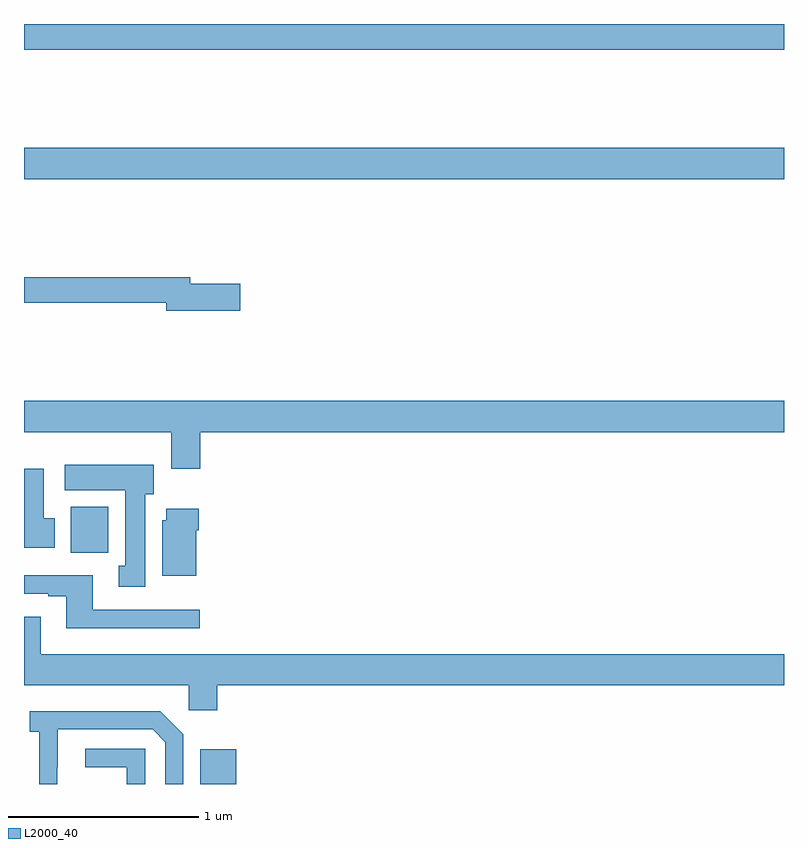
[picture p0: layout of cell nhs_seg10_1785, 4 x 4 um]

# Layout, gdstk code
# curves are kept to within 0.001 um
import gdstk
lib = gdstk.Library(unit=1e-6, precision=1e-09)
def R(c, l, rs):  # rectangles x0, y0, x1, y1
    for r in rs: c.add(gdstk.rectangle(r[:2], r[2:], *l))
def P(c, l, *ps):  # polygons
    for p in ps: c.add(gdstk.Polygon(p, *l))
L2000_40 = (2000, 40)

nhs_seg10_1785 = lib.new_cell('nhs_seg10_1785')
R(nhs_seg10_1785, L2000_40, [(205.928,1262.5,206.116,1262.683), (205.247,1263.716,205.444,1263.958), (205,1265.684,209,1265.848), (205,1266.364,209,1266.5)])
P(nhs_seg10_1785, L2000_40, [(206.137,1265.132),(205.876,1265.132),(205.876,1265.168),(205,1265.168),(205,1265.032),(205.748,1265.032),(205.748,1264.99),(206.137,1264.99)],
  [(205.928,1264.352),(209,1264.352),(209,1264.516),(205,1264.516),(205,1264.352),(205.775,1264.352),(205.775,1264.158),(205.928,1264.158)],
  [(205.639,1264.026),(205.684,1264.026),(205.684,1264.18),(205.215,1264.18),(205.215,1264.046),(205.532,1264.046),(205.532,1263.65),(205.499,1263.65),(205.499,1263.537),(205.639,1263.537)],
  [(205.162,1263.9),(205.105,1263.9),(205.105,1264.159),(205,1264.159),(205,1263.744),(205.162,1263.744)],
  [(205.906,1263.836),(205.919,1263.836),(205.919,1263.949),(205.748,1263.949),(205.748,1263.888),(205.727,1263.888),(205.727,1263.596),(205.906,1263.596)],
  [(205.924,1263.417),(205.363,1263.417),(205.363,1263.598),(205,1263.598),(205,1263.501),(205.127,1263.501),(205.127,1263.489),(205.223,1263.489),(205.223,1263.32),(205.924,1263.32)],
  [(206.018,1263.02),(209,1263.02),(209,1263.184),(205.087,1263.184),(205.087,1263.379),(205,1263.379),(205,1263.02),(205.866,1263.02),(205.866,1262.889),(206.018,1262.889)],
  [(205.176,1262.587),(205.177,1262.787),(205.677,1262.787),(205.743,1262.721),(205.743,1262.5),(205.839,1262.5),(205.839,1262.763),(205.718,1262.884),(205.029,1262.884),(205.029,1262.774),(205.08,1262.774),(205.08,1262.5),(205.176,1262.5)],
  [(205.638,1262.685),(205.323,1262.685),(205.323,1262.589),(205.542,1262.589),(205.542,1262.5),(205.638,1262.5)])

lib.write_gds('nhs_seg10_1785.gds')
